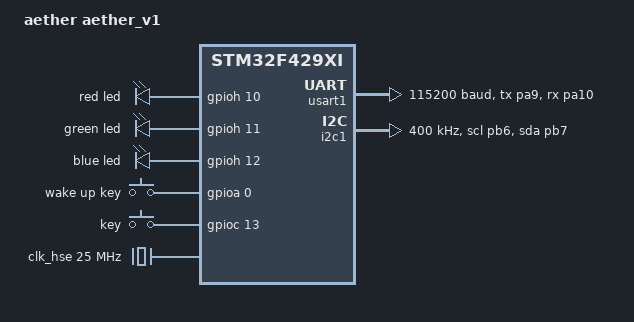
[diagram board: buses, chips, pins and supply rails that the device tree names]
/dts-v1/;
#include <st/f4/stm32f429Xi.dtsi>
#include <st/f4/stm32f429zitx-pinctrl.dtsi>
// #include <zephyr/dt-bindings/display/ili9xxx.h>
#include <zephyr/dt-bindings/input/input-event-codes.h>
/ {
    model = "aether aether_v1";
    compatible = "aether,aether_v1";

    chosen {
        zephyr,console = &usart1;
        zephyr,shell-uart = &usart1;
        zephyr,sram = &sram0;
        zephyr,flash = &flash0;
        zephyr,ccm = &ccm0;
    };

    gpio-leds {
        compatible = "gpio-leds";
        red_led: led_0 {
            gpios = <&gpioh 10 GPIO_ACTIVE_HIGH>;
			label = "red led";
        };
        green_led: led_1 {
            gpios = <&gpioh 11 GPIO_ACTIVE_HIGH>;
			label = "green led";
        };
        blue_led: led_2 {
            gpios = <&gpioh 12 GPIO_ACTIVE_HIGH>;
			label = "blue led";
        };
    };

	gpio_keys {
		compatible = "gpio-keys";
		debounce-interval-ms = <30>;

		user_button_0: button_0 {
			label = "wake up key";
			gpios = <&gpioa 0 GPIO_ACTIVE_HIGH>;
			zephyr,code = <INPUT_KEY_0>;
		};

		user_button_1: button_1 {
			label = "key";
			gpios = <&gpioc 13 GPIO_ACTIVE_HIGH>;
			zephyr,code = <INPUT_KEY_1>;
		};
	};

    aliases {
        led0 = &red_led;
        led1 = &green_led;
        led2 = &blue_led;
		sw0 = &user_button_0;
		sw1 = &user_button_1;
    };

};

&clk_lsi {
	status = "okay";
};

&clk_hse {
	clock-frequency = <DT_FREQ_M(25)>;
	status = "okay";
};

&pll {
	div-m = <15>;
	mul-n = <216>;
	div-p = <2>;
	div-q = <4>;
	clocks = <&clk_hse>;
	status = "okay";
};

&rcc {
	clocks = <&pll>;
	clock-frequency = <DT_FREQ_M(180)>;
	ahb-prescaler = <1>;
	apb1-prescaler = <4>;
	apb2-prescaler = <2>;
};

&usart1 {
	pinctrl-0 = <&usart1_tx_pa9 &usart1_rx_pa10>;
	pinctrl-names = "default";
	current-speed = <115200>;
	// dmas = <&dma1 0>, <&dma1 1>;
	// dma-names = "tx", "rx";
	status = "okay";
};

&i2c1 {
	pinctrl-0 = <&i2c1_scl_pb6 &i2c1_sda_pb7>;
	pinctrl-names = "default";
	status = "okay";
	clock-frequency = <I2C_BITRATE_FAST>;
};

&dma1 {
    status = "okay";
};
